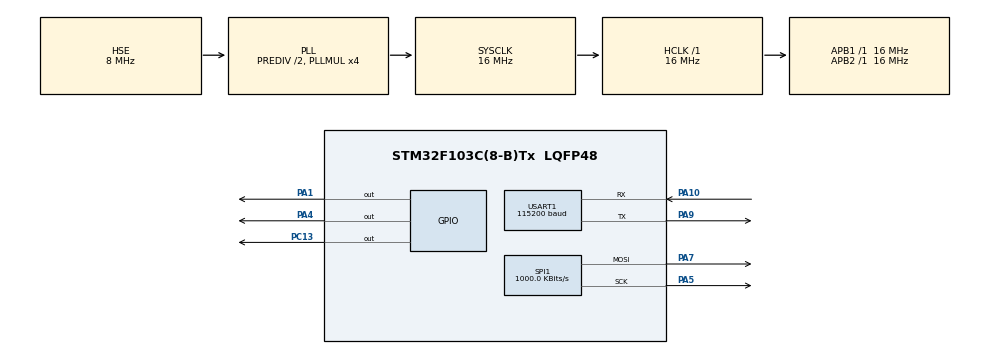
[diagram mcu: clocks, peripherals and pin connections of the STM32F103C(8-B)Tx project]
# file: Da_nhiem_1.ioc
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FREERTOS.Mutexes01=R1_Mutex,Dynamic,NULL,Available
FREERTOS.Tasks01=Task1_ReadTemp,0,128,Task1_GetTemperature,Default,NULL,Dynamic,NULL,NULL;Task2_ReadHumi,0,128,Task2_GetHumidity,Default,NULL,Dynamic,NULL,NULL;Task3_SendData,0,128,Task3_SendTempHumidity,Default,NULL,Dynamic,NULL,NULL;Task4_7display,0,128,Task4_DisplayTempHumidity,Default,NULL,Dynamic,NULL,NULL
FREERTOS.configUSE_NEWLIB_REENTRANT=1
FREERTOS.configUSE_PREEMPTION=0
Mcu.Family=STM32F1
Mcu.Name=STM32F103C(8-B)Tx
Mcu.Package=LQFP48
NVIC.PriorityGroup=NVIC_PRIORITYGROUP_4
NVIC.TIM4_IRQn=true\:15\:0\:false\:false\:true\:false\:false\:true\:true
NVIC.TimeBase=TIM4_IRQn
NVIC.TimeBaseIP=TIM4
NVIC.USART1_IRQn=true\:5\:0\:false\:false\:true\:true\:true\:true\:true
PA1.Signal=GPIO_Output
PA10.Mode=Asynchronous
PA10.Signal=USART1_RX
PA13.Mode=Serial_Wire
PA13.Signal=SYS_JTMS-SWDIO
PA14.Mode=Serial_Wire
PA14.Signal=SYS_JTCK-SWCLK
PA4.GPIO_Speed=GPIO_SPEED_FREQ_HIGH
PA4.PinState=GPIO_PIN_RESET
PA4.Signal=GPIO_Output
PA5.Mode=TX_Only_Simplex_Unidirect_Master
PA5.Signal=SPI1_SCK
PA7.Mode=TX_Only_Simplex_Unidirect_Master
PA7.Signal=SPI1_MOSI
PA9.Mode=Asynchronous
PA9.Signal=USART1_TX
PC13-TAMPER-RTC.Signal=GPIO_Output
PD0-OSC_IN.Mode=HSE-External-Oscillator
PD0-OSC_IN.Signal=RCC_OSC_IN
PD1-OSC_OUT.Mode=HSE-External-Oscillator
PD1-OSC_OUT.Signal=RCC_OSC_OUT
ProjectManager.HeapSize=0x200
ProjectManager.StackSize=0x400
ProjectManager.TargetToolchain=STM32CubeIDE
RCC.AHBFreq_Value=16000000
RCC.APB1Freq_Value=16000000
RCC.APB1TimFreq_Value=16000000
RCC.APB2Freq_Value=16000000
RCC.APB2TimFreq_Value=16000000
RCC.HCLKFreq_Value=16000000
RCC.HSEDivPLL=RCC_HSE_PREDIV_DIV2
RCC.PLLMUL=RCC_PLL_MUL4
RCC.PLLSourceVirtual=RCC_PLLSOURCE_HSE
RCC.SYSCLKFreq_VALUE=16000000
RCC.SYSCLKSource=RCC_SYSCLKSOURCE_PLLCLK
RCC.USBFreq_Value=16000000
SPI1.BaudRatePrescaler=SPI_BAUDRATEPRESCALER_16
SPI1.CalculateBaudRate=1000.0 KBits/s
SPI1.Direction=SPI_DIRECTION_2LINES
SPI1.Mode=SPI_MODE_MASTER
SPI1.VirtualType=VM_MASTER
TIM1.Prescaler=15
USART1.BaudRate=115200
USART1.VirtualMode=VM_ASYNC
VP_FREERTOS_VS_CMSIS_V1.Mode=CMSIS_V1
VP_SYS_VS_tim4.Mode=TIM4
VP_TIM1_VS_ClockSourceINT.Mode=Internal
board=custom

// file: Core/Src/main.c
/* USER CODE BEGIN Header */
/**
  ******************************************************************************
  * @file           : main.c
  * @brief          : Main program body
  ******************************************************************************
  * @attention
  *
  * Copyright (c) 2025 STMicroelectronics.
  * All rights reserved.
  *
  * This software is licensed under terms that can be found in the LICENSE file
  * in the root directory of this software component.
  * If no LICENSE file comes with this software, it is provided AS-IS.
  *
  ******************************************************************************
  */
/* USER CODE END Header */
#include "main.h"
#include "cmsis_os.h"

/* USER CODE BEGIN Includes */
#include "stm32f1xx_hal.h"
#include <string.h>
#include <stdio.h>
/* USER CODE END Includes */

/* USER CODE BEGIN PD */
 #define DHT11_PORT  GPIOA
 #define DHT11_PIN   GPIO_PIN_1
/* USER CODE END PD */

SPI_HandleTypeDef hspi1;

TIM_HandleTypeDef htim1;

UART_HandleTypeDef huart1;

osThreadId Task1_ReadTempHandle;
osThreadId Task2_ReadHumiHandle;
osThreadId Task3_SendDataHandle;
osThreadId Task4_7displayHandle;
osMutexId R1_MutexHandle;

void SystemClock_Config(void);
static void MX_GPIO_Init(void);
static void MX_USART1_UART_Init(void);
static void MX_SPI1_Init(void);
static void MX_TIM1_Init(void);
void Task1_GetTemperature(void const * argument);
void Task2_GetHumidity(void const * argument);
void Task3_SendTempHumidity(void const * argument);
void Task4_DisplayTempHumidity(void const * argument);

/* USER CODE BEGIN 0 */

uint8_t system_state = 1; // 1: Chạy, 0: Dừng
uint8_t received_data;       // Biến lưu dữ liệu nhận được qua UART

void HAL_UART_RxCpltCallback(UART_HandleTypeDef *huart) {
    if (huart->Instance == USART1) {
        if (received_data == '1') {
            system_state = 1; // Chạy
            HAL_UART_Transmit(&huart1, (uint8_t *)" System Running\r\n", 16, HAL_MAX_DELAY);
        } else if (received_data == '0') {
            system_state = 0; // Dừng
            HAL_UART_Transmit(&huart1, (uint8_t *)" System Stopped\r\n", 16, HAL_MAX_DELAY);
        }

        // Tiếp tục nhận dữ liệu
        HAL_UART_Receive_IT(&huart1, &received_data, 1);
    }
}

uint8_t digit_codes[10] = {
    0xC0, // 0
    0xF9, // 1
    0xA4, // 2
    0xB0, // 3
    0x99, // 4
    0x92, // 5
    0x82, // 6
    0xF8, // 7
    0x80, // 8
    0x90  // 9
};

uint8_t dp[10] = {
    0x40, // 0
    0x79, // 1
    0x24, // 2
    0x30, // 3
    0x19, // 4
    0x12, // 5
    0x02, // 6
    0x78, // 7
    0x00, // 8
    0x10  // 9
};

void ConvertNumberToDigits(uint16_t number, uint8_t *digits){
    digits[3] = digit_codes[number % 10];
    digits[2] = digit_codes[(number / 10) % 10];
    digits[1] = dp[(number / 100) % 10];
    digits[0] = digit_codes[(number / 1000) % 10];
}

void SendToLED_SPI(uint8_t* digits){
    // LOAD xuống thấp trước khi gửi dữ liệu
    HAL_GPIO_WritePin(GPIOA, GPIO_PIN_4, GPIO_PIN_RESET);

    // Gửi lần lượt 4 byte (4 chữ số) qua SPI
    for (int i = 0; i < 4; i++){
        HAL_SPI_Transmit(&hspi1, &digits[3 - i], 1, HAL_MAX_DELAY); // Gửi byte từ trái sang phải
    }

    // LOAD lên cao để chốt dữ liệu hiển thị
    HAL_GPIO_WritePin(GPIOA, GPIO_PIN_4, GPIO_PIN_SET);
    //HAL_Delay(100);
}

void delay(uint16_t time){
	 __HAL_TIM_SET_COUNTER(&htim1,0);
	 while((__HAL_TIM_GET_COUNTER(&htim1)) < time);
 }

 uint8_t R1, R2, T1, T2;
 uint16_t sum;
 float RH, TEMP;
 float Temperature = 0;
 float Humidity = 0;
 uint8_t Presence = 0;

 uint16_t temp_humi_display;
 uint8_t digits[4];

 void SET_PIN_OUTPUT (GPIO_TypeDef *GPIOx, uint16_t GPIO_Pin){
  GPIO_InitTypeDef GPIO_InitStruct = {0};
  /*Configure GPIO pin : PA1 */
  GPIO_InitStruct.Pin = GPIO_Pin;
  GPIO_InitStruct.Mode = GPIO_MODE_OUTPUT_PP;
  GPIO_InitStruct.Pull = GPIO_NOPULL;
  GPIO_InitStruct.Speed = GPIO_SPEED_FREQ_LOW;
  HAL_GPIO_Init(GPIOA, &GPIO_InitStruct);
 }

 void SET_PIN_INPUT (GPIO_TypeDef *GPIOx, uint16_t GPIO_Pin){
	GPIO_InitTypeDef GPIO_InitStruct = {0};
  /*Configure GPIO pin : PA1 */
  GPIO_InitStruct.Pin = GPIO_Pin;
  GPIO_InitStruct.Mode = GPIO_MODE_INPUT;
  GPIO_InitStruct.Pull = GPIO_NOPULL;
  HAL_GPIO_Init(GPIOA, &GPIO_InitStruct);
 }

 void DHT11_Start (void){
 	SET_PIN_OUTPUT(DHT11_PORT, DHT11_PIN);
 	HAL_GPIO_WritePin(DHT11_PORT, DHT11_PIN, 0);
 	delay(18000);   // wait for 18ms
 	HAL_GPIO_WritePin (DHT11_PORT, DHT11_PIN, 1);
 	delay(20);
 	SET_PIN_INPUT(DHT11_PORT, DHT11_PIN);
 }

  uint8_t Check_Response (void){
 	uint8_t Response = 0;
 	delay (40);
 	if (!(HAL_GPIO_ReadPin (DHT11_PORT, DHT11_PIN))){
 		delay (80);
 		if ((HAL_GPIO_ReadPin (DHT11_PORT, DHT11_PIN))) Response = 1;
 		else Response = -1;  //255
 	}
 	while ((HAL_GPIO_ReadPin (DHT11_PORT, DHT11_PIN)));   // doi pin xung thap

 	return Response;
 }

 uint8_t DHT11_Read (void){
 	uint8_t i, j;
 	for (j=0; j<8; j++){
 		while (!(HAL_GPIO_ReadPin (DHT11_PORT, DHT11_PIN)));
 		delay (40);   // wait for 40 us, cho trong 40us, neu Readdht11 ma xuong 0 --> nhan bit 0, neu sau 40us ma chua xuong 0--> nhan bit 1
 		if (!(HAL_GPIO_ReadPin (DHT11_PORT, DHT11_PIN)))
 		{
 			i&= ~(1<<(7-j));   // write 0
 		}
 		else {
 			i|= (1<<(7-j));
 		}			// pin high , write 1
 		while ((HAL_GPIO_ReadPin (DHT11_PORT, DHT11_PIN)));
 	}
 	return i;
 }

/* USER CODE END 0 */

int main(void)
{

  /* MCU Configuration--------------------------------------------------------*/

  /* Reset of all peripherals, Initializes the Flash interface and the Systick. */
  HAL_Init();

  /* Configure the system clock */
  SystemClock_Config();

  /* Initialize all configured peripherals */
  MX_GPIO_Init();
  MX_USART1_UART_Init();
  MX_SPI1_Init();
  MX_TIM1_Init();
  /* USER CODE BEGIN 2 */
  //osKernelInitialize();
  HAL_TIM_Base_Start(&htim1);
  HAL_UART_Receive_IT(&huart1, &received_data, 1);
  /* USER CODE END 2 */

  /* Create the mutex(es) */
  /* definition and creation of R1_Mutex */
  osMutexDef(R1_Mutex);
  R1_MutexHandle = osMutexCreate(osMutex(R1_Mutex));

  /* USER CODE BEGIN RTOS_MUTEX */
  /* add mutexes, ... */
  /* Create Mutex */
  /* USER CODE END RTOS_MUTEX */

  /* Create the thread(s) */
  /* definition and creation of Task1_ReadTemp */
  osThreadDef(Task1_ReadTemp, Task1_GetTemperature, osPriorityNormal, 0, 128);
  Task1_ReadTempHandle = osThreadCreate(osThread(Task1_ReadTemp), NULL);

  /* definition and creation of Task2_ReadHumi */
  osThreadDef(Task2_ReadHumi, Task2_GetHumidity, osPriorityNormal, 0, 128);
  Task2_ReadHumiHandle = osThreadCreate(osThread(Task2_ReadHumi), NULL);

  /* definition and creation of Task3_SendData */
  osThreadDef(Task3_SendData, Task3_SendTempHumidity, osPriorityNormal, 0, 128);
  Task3_SendDataHandle = osThreadCreate(osThread(Task3_SendData), NULL);

  /* definition and creation of Task4_7display */
  osThreadDef(Task4_7display, Task4_DisplayTempHumidity, osPriorityNormal, 0, 128);
  Task4_7displayHandle = osThreadCreate(osThread(Task4_7display), NULL);

  /* USER CODE BEGIN RTOS_THREADS */
  /* add threads, ... */
  //osKernelInitialize();
  /* USER CODE END RTOS_THREADS */

  /* Start scheduler */
  osKernelStart();

  /* We should never get here as control is now taken by the scheduler */

  /* Infinite loop */
  while (1)
  {

  }
}

void SystemClock_Config(void)
{
  RCC_OscInitTypeDef RCC_OscInitStruct = {0};
  RCC_ClkInitTypeDef RCC_ClkInitStruct = {0};

  /** Initializes the RCC Oscillators according to the specified parameters
  * in the RCC_OscInitTypeDef structure.
  */
  RCC_OscInitStruct.OscillatorType = RCC_OSCILLATORTYPE_HSE;
  RCC_OscInitStruct.HSEState = RCC_HSE_ON;
  RCC_OscInitStruct.HSEPredivValue = RCC_HSE_PREDIV_DIV2;
  RCC_OscInitStruct.HSIState = RCC_HSI_ON;
  RCC_OscInitStruct.PLL.PLLState = RCC_PLL_ON;
  RCC_OscInitStruct.PLL.PLLSource = RCC_PLLSOURCE_HSE;
  RCC_OscInitStruct.PLL.PLLMUL = RCC_PLL_MUL4;
  if (HAL_RCC_OscConfig(&RCC_OscInitStruct) != HAL_OK)
  {
    Error_Handler();
  }

  /** Initializes the CPU, AHB and APB buses clocks
  */
  RCC_ClkInitStruct.ClockType = RCC_CLOCKTYPE_HCLK|RCC_CLOCKTYPE_SYSCLK
                              |RCC_CLOCKTYPE_PCLK1|RCC_CLOCKTYPE_PCLK2;
  RCC_ClkInitStruct.SYSCLKSource = RCC_SYSCLKSOURCE_PLLCLK;
  RCC_ClkInitStruct.AHBCLKDivider = RCC_SYSCLK_DIV1;
  RCC_ClkInitStruct.APB1CLKDivider = RCC_HCLK_DIV1;
  RCC_ClkInitStruct.APB2CLKDivider = RCC_HCLK_DIV1;

  if (HAL_RCC_ClockConfig(&RCC_ClkInitStruct, FLASH_LATENCY_0) != HAL_OK)
  {
    Error_Handler();
  }
}

static void MX_SPI1_Init(void)
{

  /* SPI1 parameter configuration*/
  hspi1.Instance = SPI1;
  hspi1.Init.Mode = SPI_MODE_MASTER;
  hspi1.Init.Direction = SPI_DIRECTION_2LINES;
  hspi1.Init.DataSize = SPI_DATASIZE_8BIT;
  hspi1.Init.CLKPolarity = SPI_POLARITY_LOW;
  hspi1.Init.CLKPhase = SPI_PHASE_1EDGE;
  hspi1.Init.NSS = SPI_NSS_SOFT;
  hspi1.Init.BaudRatePrescaler = SPI_BAUDRATEPRESCALER_16;
  hspi1.Init.FirstBit = SPI_FIRSTBIT_MSB;
  hspi1.Init.TIMode = SPI_TIMODE_DISABLE;
  hspi1.Init.CRCCalculation = SPI_CRCCALCULATION_DISABLE;
  hspi1.Init.CRCPolynomial = 10;
  if (HAL_SPI_Init(&hspi1) != HAL_OK)
  {
    Error_Handler();
  }

}

static void MX_TIM1_Init(void)
{

  TIM_ClockConfigTypeDef sClockSourceConfig = {0};
  TIM_MasterConfigTypeDef sMasterConfig = {0};

  htim1.Instance = TIM1;
  htim1.Init.Prescaler = 15;
  htim1.Init.CounterMode = TIM_COUNTERMODE_UP;
  htim1.Init.Period = 65535;
  htim1.Init.ClockDivision = TIM_CLOCKDIVISION_DIV1;
  htim1.Init.RepetitionCounter = 0;
  htim1.Init.AutoReloadPreload = TIM_AUTORELOAD_PRELOAD_DISABLE;
  if (HAL_TIM_Base_Init(&htim1) != HAL_OK)
  {
    Error_Handler();
  }
  sClockSourceConfig.ClockSource = TIM_CLOCKSOURCE_INTERNAL;
  if (HAL_TIM_ConfigClockSource(&htim1, &sClockSourceConfig) != HAL_OK)
  {
    Error_Handler();
  }
  sMasterConfig.MasterOutputTrigger = TIM_TRGO_RESET;
  sMasterConfig.MasterSlaveMode = TIM_MASTERSLAVEMODE_DISABLE;
  if (HAL_TIMEx_MasterConfigSynchronization(&htim1, &sMasterConfig) != HAL_OK)
  {
    Error_Handler();
  }

}

static void MX_USART1_UART_Init(void)
{

  huart1.Instance = USART1;
  huart1.Init.BaudRate = 115200;
  huart1.Init.WordLength = UART_WORDLENGTH_8B;
  huart1.Init.StopBits = UART_STOPBITS_1;
  huart1.Init.Parity = UART_PARITY_NONE;
  huart1.Init.Mode = UART_MODE_TX_RX;
  huart1.Init.HwFlowCtl = UART_HWCONTROL_NONE;
  huart1.Init.OverSampling = UART_OVERSAMPLING_16;
  if (HAL_UART_Init(&huart1) != HAL_OK)
  {
    Error_Handler();
  }

}

static void MX_GPIO_Init(void)
{
  GPIO_InitTypeDef GPIO_InitStruct = {0};

  /* GPIO Ports Clock Enable */
  __HAL_RCC_GPIOC_CLK_ENABLE();
  __HAL_RCC_GPIOD_CLK_ENABLE();
  __HAL_RCC_GPIOA_CLK_ENABLE();

  /*Configure GPIO pin Output Level */
  HAL_GPIO_WritePin(GPIOC, GPIO_PIN_13, GPIO_PIN_RESET);

  /*Configure GPIO pin Output Level */
  HAL_GPIO_WritePin(GPIOA, GPIO_PIN_1|GPIO_PIN_4, GPIO_PIN_RESET);

  /*Configure GPIO pin : PC13 */
  GPIO_InitStruct.Pin = GPIO_PIN_13;
  GPIO_InitStruct.Mode = GPIO_MODE_OUTPUT_PP;
  GPIO_InitStruct.Pull = GPIO_NOPULL;
  GPIO_InitStruct.Speed = GPIO_SPEED_FREQ_LOW;
  HAL_GPIO_Init(GPIOC, &GPIO_InitStruct);

  /*Configure GPIO pin : PA1 */
  GPIO_InitStruct.Pin = GPIO_PIN_1;
  GPIO_InitStruct.Mode = GPIO_MODE_OUTPUT_PP;
  GPIO_InitStruct.Pull = GPIO_NOPULL;
  GPIO_InitStruct.Speed = GPIO_SPEED_FREQ_LOW;
  HAL_GPIO_Init(GPIOA, &GPIO_InitStruct);

  /*Configure GPIO pin : PA4 */
  GPIO_InitStruct.Pin = GPIO_PIN_4;
  GPIO_InitStruct.Mode = GPIO_MODE_OUTPUT_PP;
  GPIO_InitStruct.Pull = GPIO_NOPULL;
  GPIO_InitStruct.Speed = GPIO_SPEED_FREQ_HIGH;
  HAL_GPIO_Init(GPIOA, &GPIO_InitStruct);

}

void Task1_GetTemperature(void const * argument)
{
  /* USER CODE BEGIN 5 */
  /* Infinite loop */
  for(;;)
  {
	  if (system_state == 1) { // Chỉ thực thi nếu đang ở trạng thái chạy
	    char msg[] = "Task 1 is running\r\n";
	    HAL_UART_Transmit(&huart1, (uint8_t *)msg, strlen(msg), HAL_MAX_DELAY);
	    DHT11_Start();
	    Presence = Check_Response();
	    // Bảo vệ việc ghi vào R1
	    //osMutexWait(R1_MutexHandle, osWaitForever);
	    R1 = DHT11_Read();  // Ghi giá trị vào R1
	    //osMutexRelease(R1_MutexHandle);
	    //R1 = DHT11_Read();
	    R2 = DHT11_Read();
	    T1 = DHT11_Read();
	    T2 = DHT11_Read();
	    sum = DHT11_Read();
	    TEMP = T1 + T2 / 10.0;
	    Temperature = TEMP;
	    Humidity = R1;
	    //RH = R1;
	  }
	    osDelay(2000);
  }
  /* USER CODE END 5 */
}

void Task2_GetHumidity(void const * argument)
{
  /* USER CODE BEGIN Task2_GetHumidity */
  /* Infinite loop */
  for(;;)
  {
	  if (system_state == 1) { // Chỉ thực thi nếu đang ở trạng thái chạy
	    //char msg[] = "Task 2 is running\r\n";
	    //HAL_UART_Transmit(&huart1, (uint8_t *)msg, strlen(msg), HAL_MAX_DELAY);
	    // Bảo vệ việc đ�?c từ R1
	    //osMutexWait(R1_MutexHandle, osWaitForever);
	    //RH = R1;  // �?�?c giá trị từ R1
	    //osMutexRelease(R1_MutexHandle);
	    //Humidity = RH;
	    HAL_GPIO_TogglePin(GPIOC, GPIO_PIN_13); // �?ổi trạng thái chân GPIO (nháy LED)
	    //HAL_Delay(100);
	  }
	    osDelay(2000);
  }
  /* USER CODE END Task2_GetHumidity */
}

void Task3_SendTempHumidity(void const * argument)
{
  /* USER CODE BEGIN Task3_SendTempHumidity */
  /* Infinite loop */
  char buffer[50];
  for(;;)
  {
	  if (system_state == 1) { // Chỉ thực thi nếu đang ở trạng thái chạy
	    char msg[] = "Task 2 is running\r\n";
	    HAL_UART_Transmit(&huart1, (uint8_t *)msg, strlen(msg), HAL_MAX_DELAY);
	    snprintf(buffer, sizeof(buffer), "Temp: %.1f \n", Temperature);
	    HAL_UART_Transmit(&huart1, (uint8_t *)buffer, strlen(buffer), HAL_MAX_DELAY);
	    snprintf(buffer, sizeof(buffer), "Hum: %.1f \n", Humidity);
	    HAL_UART_Transmit(&huart1, (uint8_t *)buffer, strlen(buffer), HAL_MAX_DELAY);
	  }
	    osDelay(2000);
  }
  /* USER CODE END Task3_SendTempHumidity */
}

void Task4_DisplayTempHumidity(void const * argument)
{
  /* USER CODE BEGIN Task4_DisplayTempHumidity */
  /* Infinite loop */
  osDelay(5);
  for(;;)
  {
	  if (system_state == 1) { // Chỉ thực thi nếu đang ở trạng thái chạy
	    char msg[] = "Task 3 is running\r\n";
	    HAL_UART_Transmit(&huart1, (uint8_t *)msg, strlen(msg), HAL_MAX_DELAY);
	    temp_humi_display = (uint8_t)Temperature * 100 + (uint8_t)Humidity;
	    ConvertNumberToDigits(temp_humi_display, digits);
	    SendToLED_SPI(digits);
	    //HAL_Delay(500);
	  }
	    osDelay(2000);
  }
  /* USER CODE END Task4_DisplayTempHumidity */
}

void HAL_TIM_PeriodElapsedCallback(TIM_HandleTypeDef *htim)
{
  if (htim->Instance == TIM4) {
    HAL_IncTick();
  }
}

void Error_Handler(void)
{
  __disable_irq();
  while (1)
  {
  }
}
